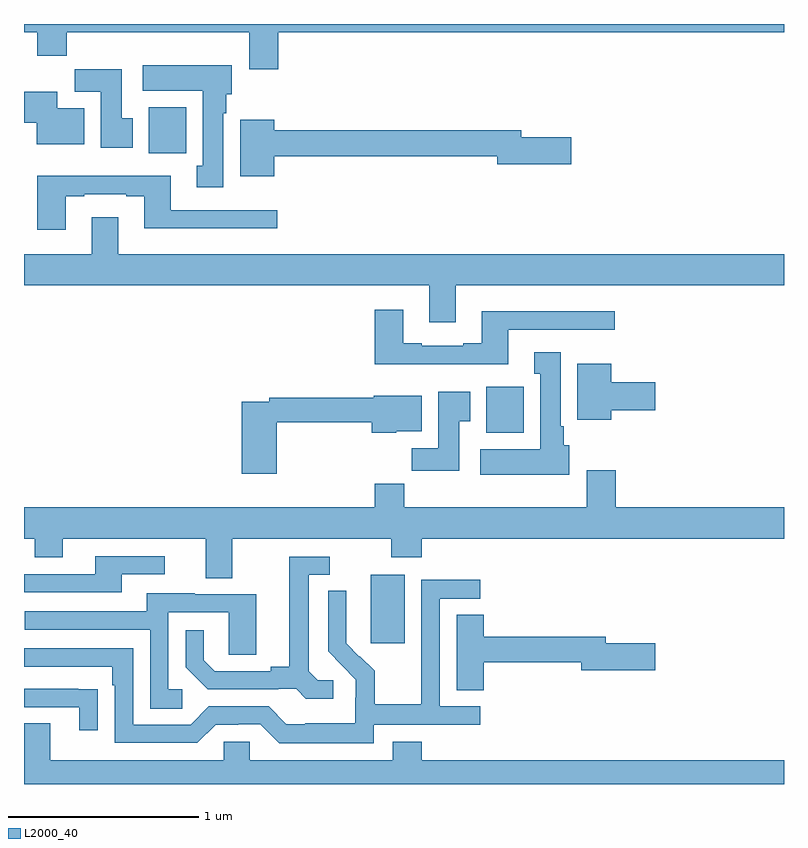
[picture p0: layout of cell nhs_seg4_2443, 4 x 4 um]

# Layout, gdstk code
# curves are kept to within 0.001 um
import gdstk
lib = gdstk.Library(unit=1e-6, precision=1e-09)
def R(c, l, rs):  # rectangles x0, y0, x1, y1
    for r in rs: c.add(gdstk.rectangle(r[:2], r[2:], *l))
def P(c, l, *ps):  # polygons
    for p in ps: c.add(gdstk.Polygon(p, *l))
L2000_40 = (2000, 40)

nhs_seg4_2443 = lib.new_cell('nhs_seg4_2443')
R(nhs_seg4_2443, L2000_40, [(240.824,757.641,241.003,758.002), (241.433,758.75,241.63,758.992), (239.657,760.22,239.854,760.462)])
P(nhs_seg4_2443, L2000_40, [(240.338,760.856),(243,760.856),(243,760.9),(239,760.9),(239,760.856),(239.069,760.856),(239.069,760.732),(239.225,760.732),(239.225,760.856),(240.185,760.856),(240.185,760.662),(240.338,760.662)],
  [(240.049,760.43),(240.064,760.43),(240.064,760.53),(240.094,760.53),(240.094,760.684),(239.625,760.684),(239.625,760.55),(239.942,760.55),(239.942,760.154),(239.909,760.154),(239.909,760.041),(240.049,760.041)],
  [(239.572,760.404),(239.515,760.404),(239.515,760.663),(239.266,760.663),(239.266,760.544),(239.405,760.544),(239.405,760.248),(239.572,760.248)],
  [(239.317,760.456),(239.176,760.456),(239.176,760.543),(239,760.543),(239,760.379),(239.066,760.379),(239.066,760.268),(239.317,760.268)],
  [(240.316,760.204),(241.49,760.204),(241.49,760.162),(241.879,760.162),(241.879,760.304),(241.618,760.304),(241.618,760.34),(240.316,760.34),(240.316,760.396),(240.137,760.396),(240.137,760.1),(240.316,760.1)],
  [(239.221,759.993),(239.317,759.993),(239.317,760.005),(239.537,760.005),(239.537,759.993),(239.633,759.993),(239.633,759.824),(240.334,759.824),(240.334,759.921),(239.773,759.921),(239.773,760.102),(239.069,760.102),(239.069,759.816),(239.221,759.816)],
  [(241.273,759.524),(243,759.524),(243,759.688),(239.497,759.688),(239.497,759.883),(239.357,759.883),(239.357,759.688),(239,759.688),(239,759.524),(241.133,759.524),(241.133,759.33),(241.273,759.33)],
  [(241.549,759.291),(242.11,759.291),(242.11,759.388),(241.409,759.388),(241.409,759.22),(241.313,759.22),(241.313,759.207),(241.093,759.207),(241.093,759.22),(240.997,759.22),(240.997,759.397),(240.845,759.397),(240.845,759.11),(241.549,759.11)],
  [(241.87,758.682),(241.84,758.682),(241.84,758.782),(241.825,758.782),(241.825,759.172),(241.685,759.172),(241.685,759.059),(241.718,759.059),(241.718,758.662),(241.401,758.662),(241.401,758.528),(241.87,758.528)],
  [(242.092,758.867),(242.323,758.867),(242.323,759.014),(242.092,759.014),(242.092,759.112),(241.913,759.112),(241.913,758.816),(242.092,758.816)],
  [(241.291,758.809),(241.348,758.809),(241.348,758.965),(241.181,758.965),(241.181,758.668),(241.042,758.668),(241.042,758.55),(241.291,758.55)],
  [(240.329,758.805),(240.83,758.805),(240.83,758.75),(240.96,758.75),(240.96,758.756),(241.093,758.756),(241.093,758.944),(240.842,758.944),(240.842,758.933),(240.292,758.933),(240.292,758.913),(240.146,758.913),(240.146,758.532),(240.329,758.532)],
  [(240.097,758.192),(240.934,758.192),(240.934,758.093),(241.094,758.093),(241.094,758.192),(243,758.192),(243,758.356),(242.114,758.356),(242.114,758.551),(241.961,758.551),(241.961,758.356),(241.001,758.356),(241.001,758.48),(240.845,758.48),(240.845,758.356),(239,758.356),(239,758.192),(239.056,758.192),(239.056,758.093),(239.203,758.093),(239.203,758.192),(239.957,758.192),(239.957,757.984),(240.097,757.984)],
  [(239.515,758.004),(239.74,758.004),(239.74,758.1),(239.375,758.1),(239.375,758.004),(239,758.004),(239,757.908),(239.515,757.908)],
  [(240.628,757.446),(240.546,757.446),(240.499,757.493),(240.499,758.001),(240.61,758.001),(240.61,758.097),(240.395,758.097),(240.395,757.517),(240.299,757.517),(240.299,757.494),(240.004,757.494),(239.947,757.551),(239.947,757.708),(239.85,757.708),(239.85,757.514),(239.966,757.398),(240.338,757.398),(240.338,757.401),(240.432,757.401),(240.484,757.349),(240.628,757.349)],
  [(240.84,757.212),(241.402,757.212),(241.402,757.308),(241.188,757.308),(241.188,757.875),(241.402,757.875),(241.402,757.974),(241.092,757.974),(241.092,757.544),(241.09,757.544),(241.09,757.321),(240.845,757.321),(240.845,757.495),(240.768,757.572),(240.765,757.569),(240.695,757.64),(240.696,757.916),(240.6,757.916),(240.6,757.598),(240.746,757.45),(240.746,757.353),(240.744,757.353),(240.744,757.219),(240.481,757.219),(240.481,757.215),(240.381,757.215),(240.288,757.308),(239.973,757.308),(239.877,757.212),(239.574,757.212),(239.574,757.614),(239,757.614),(239,757.518),(239.465,757.518),(239.465,757.421),(239.478,757.421),(239.478,757.116),(239.913,757.116),(240.009,757.212),(240.128,757.212),(240.128,757.215),(240.243,757.215),(240.343,757.115),(240.84,757.115)],
  [(239.833,757.398),(239.76,757.398),(239.76,757.803),(240.078,757.803),(240.078,757.579),(240.223,757.579),(240.223,757.899),(239.899,757.899),(239.899,757.903),(239.645,757.903),(239.645,757.809),(239.005,757.809),(239.005,757.713),(239.664,757.713),(239.664,757.297),(239.833,757.297)],
  [(241.421,757.54),(241.934,757.54),(241.934,757.498),(242.323,757.498),(242.323,757.64),(242.062,757.64),(242.062,757.676),(241.421,757.676),(241.421,757.79),(241.277,757.79),(241.277,757.393),(241.421,757.393)],
  [(239.387,757.4),(239.285,757.4),(239.285,757.401),(239,757.401),(239,757.305),(239.291,757.305),(239.291,757.182),(239.387,757.182)],
  [(243,757.024),(241.094,757.024),(241.094,757.123),(240.941,757.123),(240.941,757.024),(240.189,757.024),(240.189,757.122),(240.051,757.122),(240.051,757.024),(239.137,757.024),(239.137,757.219),(239,757.219),(239,756.9),(243,756.9)])

lib.write_gds('nhs_seg4_2443.gds')
